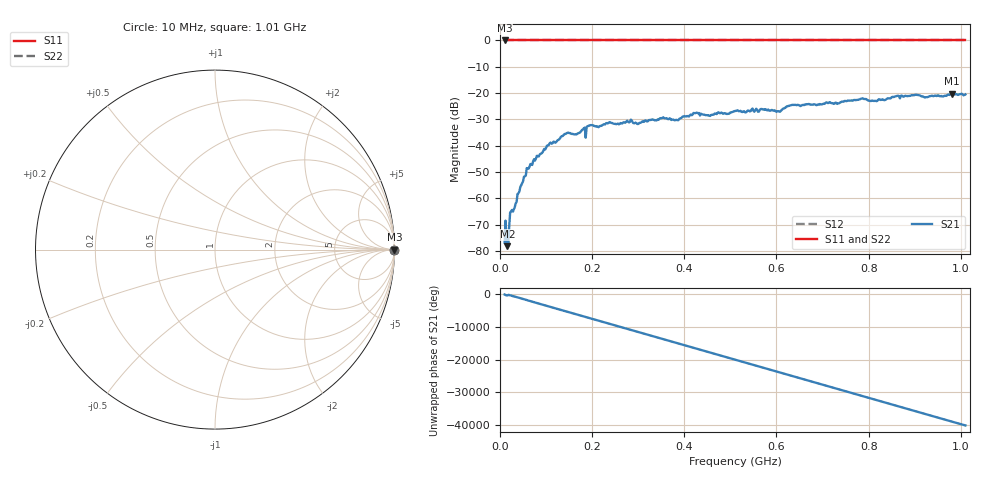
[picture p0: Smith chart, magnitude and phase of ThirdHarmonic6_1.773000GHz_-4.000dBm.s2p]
! 8/16/2025 9:25:05 PM
! C:\ANRITSUVNA\TEMP\TEMP.S2P
! CHANNEL.1
! TR.MEASUREMENT
! RAW.DATA
! RF.CORRECTION.OFF
! AVERAGING.OFF
! IF.BANDWIDTH: 5KHZ
! SWEEPTYPE:  FREQ.SWEEP(Linear)
! Reference Plane Port Info
! PORT:  PORT1  PORT2
! DISTANCE:  0  m  0  m
! TIME:  0  s  0  s
! PHASE.OFFSET:  0  deg.  0  deg.
! LOSS:  0  dB  0  dB
! REF.LOSS:  0  dB  0  dB
! REF.FREQ:  0  Hz  0  Hz
! Power Info
! POWER:  -20  dBm  -20  dBm
! EFF.POWER:  -20  dBm  -20  dBm
! SOURCE.ATTEN:  0  dB  0  dB
! TEST.ATTEN:  0  dB  0  dB
# GHZ S RI R 50.0
! FREQ.GHZ  S11RE  S11IM  S21RE  S21IM  S12RE  S12IM  S22RE  S22IM
!; PortSelection: Port_12
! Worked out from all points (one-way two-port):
!   501 points, 10 MHz to 1.01 GHz, reference 50 ohm
!   highest |S21| = -20.18 dB at 980 MHz (marker M1); lowest = -78.2 dB at 16 MHz (marker M2)
!   lowest |S11| = 0.0 dB at 10 MHz (marker M3)
!   |S11| at or under -10 dB: nowhere
!   |S22| runs from 0.0 to 0.0 dB; largest |S21 - S12| = 1.1
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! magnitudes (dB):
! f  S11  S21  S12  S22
! 10 MHz  0.0  -76.9  0.0  0.0
! 16 MHz  0.0  -78.2  0.0  0.0
! 18 MHz  0.0  -78.1  0.0  0.0
! 26 MHz  0.0  -64.4  0.0  0.0
! 32 MHz  0.0  -63.4  0.0  0.0
! 42 MHz  0.0  -57.4  0.0  0.0
! 62 MHz  0.0  -48.7  0.0  0.0
! 106 MHz  0.0  -39.7  0.0  0.0
! 144 MHz  0.0  -35.3  0.0  0.0
! 178 MHz  0.0  -34.1  0.0  0.0
! 196 MHz  0.0  -32.2  0.0  0.0
! 344 MHz  0.0  -30.2  0.0  0.0
! 384 MHz  0.0  -30.2  0.0  0.0
! 424 MHz  0.0  -27.7  0.0  0.0
! 454 MHz  0.0  -28.6  0.0  0.0
! 510 MHz  0.0  -26.8  0.0  0.0
! 604 MHz  0.0  -26.9  0.0  0.0
! 632 MHz  0.0  -24.6  0.0  0.0
! 678 MHz  0.0  -24.4  0.0  0.0
! 844 MHz  0.0  -22.0  0.0  0.0
! 980 MHz  0.0  -20.2  0.0  0.0
! 1.01 GHz  0.0  -20.5  0.0  0.0
